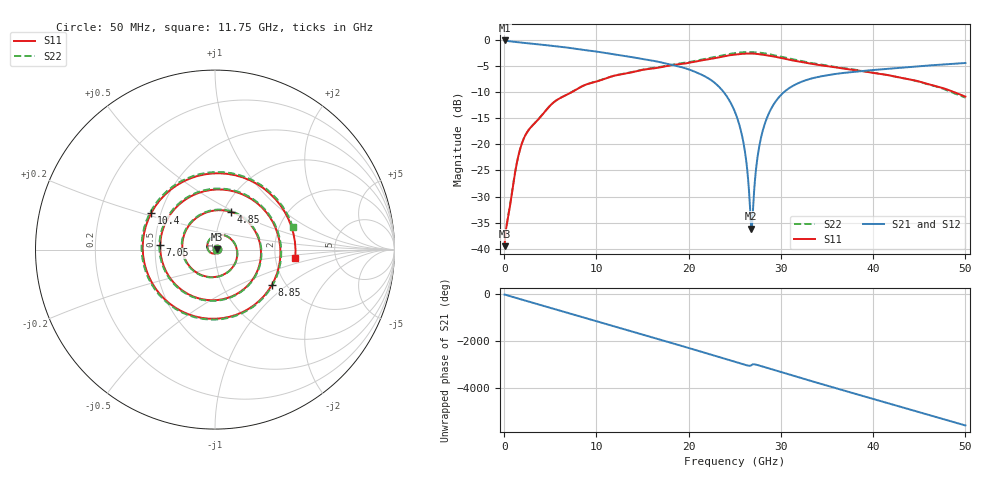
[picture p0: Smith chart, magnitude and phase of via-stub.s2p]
# Hz S RI R 50.0
!freq ReS11 ImS11 ReS21 ImS21 ReS12 ImS12 ReS22 ImS22
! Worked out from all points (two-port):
!   1000 points, 50 MHz to 50 GHz, reference 50 ohm
!   highest |S21| = -0.09 dB at 50 MHz (marker M1); lowest = -36.1 dB at 26.8 GHz (marker M2)
!   |S21| within 3 dB of the highest: start of sweep to 13.25 GHz
!   lowest |S11| = -39.5 dB at 50 MHz (marker M3), VSWR 1.02, Z = 51.1 + j0.204 ohm
!   |S11| at or under -10 dB: start of sweep to 7.325 GHz; 48.78 GHz to end of sweep
!   |S22| runs from -39.5 to -2.3 dB; largest |S21 - S12| = 7.7e-14
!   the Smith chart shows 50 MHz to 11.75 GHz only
!   S11 on the Smith chart (normalised r, x): 50 MHz: 1.02, +0.00; 4.85 GHz: 1.08, +0.48; 7.05 GHz: 0.53, +0.03; 8.85 GHz: 1.70, -0.78; 10.4 GHz: 0.44, +0.22; 11.75 GHz: 2.60, -0.30
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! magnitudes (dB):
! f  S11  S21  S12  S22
! 50 MHz  -39.5  -0.1  -0.1  -39.5
! 1.25 GHz  -24.7  -0.4  -0.4  -24.7
! 1.9 GHz  -19.9  -0.5  -0.5  -20.0
! 4.85 GHz  -12.8  -1.1  -1.1  -12.8
! 7.05 GHz  -10.3  -1.5  -1.5  -10.2
! 8.4 GHz  -8.9  -1.9  -1.9  -8.9
! 8.85 GHz  -8.6  -2.0  -2.0  -8.6
! 10.4 GHz  -7.8  -2.3  -2.3  -7.7
! 11.75 GHz  -6.9  -2.7  -2.7  -6.9
! 16.7 GHz  -5.3  -4.2  -4.2  -5.2
! 22.3 GHz  -3.7  -7.5  -7.5  -3.4
! 25.05 GHz  -2.8  -13.9  -13.9  -2.5
! 26 GHz  -2.6  -20.3  -20.3  -2.3
! 26.8 GHz  -2.6  -36.1  -36.1  -2.3
! 27 GHz  -2.6  -31.7  -31.7  -2.3
! 27.35 GHz  -2.7  -24.0  -24.0  -2.4
! 27.65 GHz  -2.7  -20.4  -20.4  -2.4
! 28.7 GHz  -3.0  -14.0  -14.0  -2.7
! 30.5 GHz  -3.6  -9.7  -9.7  -3.4
! 33.35 GHz  -4.6  -7.4  -7.4  -4.4
! 41.7 GHz  -6.8  -5.5  -5.5  -6.8
! 50 GHz  -10.8  -4.4  -4.4  -11.0
